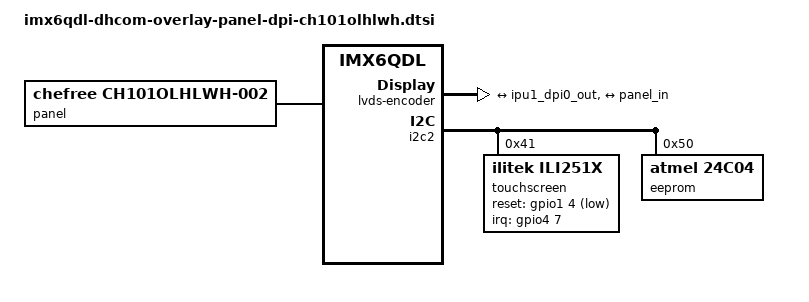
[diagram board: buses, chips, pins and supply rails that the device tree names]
// SPDX-License-Identifier: (GPL-2.0+ OR BSD-3-Clause)
/*
 * Copyright (C) 2021-2026 Marek Vasut
 */
/dts-v1/;
/plugin/;

#include "imx6qdl-dhcom-overlay-panel-dpi.dtsi"

&{/} {
	lvds-encoder {
		compatible = "onnn,fin3385", "lvds-encoder";
		pclk-sample = <1>;

		ports {
			#address-cells = <1>;
			#size-cells = <0>;

			port@0 {
				reg = <0>;

				lvds_bridge_in: endpoint {
					remote-endpoint = <&ipu1_dpi0_out>;
				};
			};

			port@1 {
				reg = <1>;

				lvds_bridge_out: endpoint {
					remote-endpoint = <&panel_in>;
				};
			};
		};
	};
};

&display_bl {
	pwms = <&pwm1 0 5000000 0>;
};

&i2c2 {
	#address-cells = <1>;
	#size-cells = <0>;

	touchscreen@41 {
		compatible = "ilitek,ili251x";
		reg = <0x41>;
		interrupt-parent = <&gpio4>;
		interrupts = <7 IRQ_TYPE_EDGE_FALLING>;
		reset-gpios = <&gpio1 4 GPIO_ACTIVE_LOW>;
		touchscreen-size-x = <16384>;
		touchscreen-size-y = <9600>;
		touchscreen-inverted-x;
		touchscreen-inverted-y;
	};

	eeprom@50 {
		compatible = "atmel,24c04";
		reg = <0x50>;
		pagesize = <16>;
	};
};

&ipu1_dpi0_out {
	remote-endpoint = <&lvds_bridge_in>;
};

&panel {
	compatible = "chefree,ch101olhlwh-002";
};

&panel_in {
	remote-endpoint = <&lvds_bridge_out>;
};
